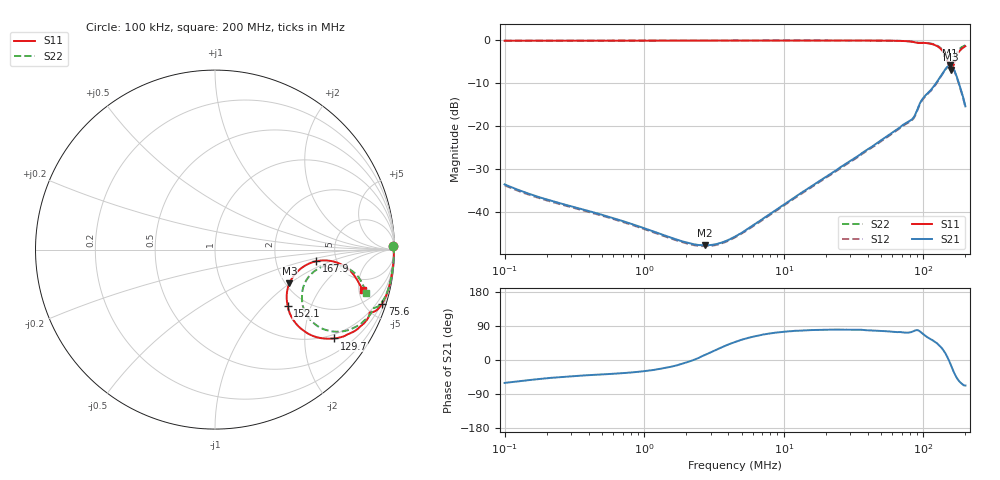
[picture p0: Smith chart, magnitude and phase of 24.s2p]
#  HZ  S  RI  R  50.00
! Rohde & Schwarz Vector Network Analyzer
! Rohde-Schwarz,ZNLE6-2Port,1323001256200024,1.71.1.10-23.02.1.238
! Created: UTC 4/8/2025, 2:39:45 AM
! freq[Hz]  re:S11  im:S11  re:S21  im:S21  re:S12  im:S12  re:S22  im:S22
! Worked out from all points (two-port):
!   1001 points, 100 kHz to 200 MHz, reference 50 ohm
!   highest |S21| = -5.84 dB at 155.6 MHz (marker M1); lowest = -47.7 dB at 2.729 MHz (marker M2)
!   |S21| within 3 dB of the highest: 130.1 MHz to 175.1 MHz (44.99 MHz wide, 29.5 % of centre)
!   lowest |S11| = -6.8 dB at 158 MHz (marker M3), VSWR 2.67, Z = 105 - j49.8 ohm
!   |S11| at or under -10 dB: nowhere
!   |S22| runs from -5.5 to 0.0 dB; largest |S21 - S12| = 0.0093
!   S11 on the Smith chart (normalised r, x): 100 kHz: 46, +84; 75.6 MHz: 0.44, -6.30; 129.7 MHz: 0.88, -2.76; 152.1 MHz: 1.63, -1.38; 167.9 MHz: 3.49, -0.66; 200 MHz: 3.29, -5.50
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100000  0.9898 0.0181  0.0104 -0.0183  0.0101 -0.0178  0.99 0.0176
355854.1  0.9918 0.00623  0.00818 -0.00713  0.00797 -0.00696  0.9922 0.00616
1266322  0.9948 -0.000754  0.00517 -0.00233  0.00505 -0.00228  0.9949 -0.000581
2075444  0.9956 -0.00463  0.00435 -0.000362  0.00425 -0.000358  0.9956 -0.0041
2728651  0.9962 -0.00723  0.00399 0.000954  0.00392 0.000851  0.9964 -0.00588
3427512  0.9962 -0.00988  0.00374 0.00216  0.00368 0.00207  0.997 -0.00787
4472136  0.9962 -0.0144  0.0035 0.00383  0.00346 0.00372  0.9969 -0.0114
1.591428e7  0.995 -0.0578  0.00385 0.0198  0.00392 0.0193  0.9955 -0.0533
3.251501e7  0.988 -0.1204  0.00774 0.0422  0.00842 0.041  0.9894 -0.111
5.663162e7  0.9673 -0.2166  0.0199 0.0767  0.0205 0.0743  0.9716 -0.1992
7.559589e7  0.9313 -0.3015  0.0338 0.1044  0.0345 0.1012  0.9401 -0.2775
8.47254e7  0.8941 -0.3422  0.0306 0.1214  0.0315 0.1181  0.9097 -0.3156
9.352484e7  0.8615 -0.3506  0.0413 0.1737  0.0426 0.1692  0.8789 -0.3269
1.113911e8  0.8095 -0.4281  0.1442 0.2135  0.1434 0.2076  0.8319 -0.3951
1.296795e8  0.6633 -0.495  0.2791 0.2254  0.2746 0.221  0.7061 -0.4562
1.409882e8  0.5191 -0.4684  0.4084 0.1704  0.4027 0.167  0.5802 -0.4316
1.521223e8  0.4044 -0.313  0.505 -0.00371  0.4985 -0.00558  0.4859 -0.2911
1.55631e8  0.4005 -0.2403  0.5045 -0.0772  0.4975 -0.0793  0.487 -0.231
1.580149e8  0.4141 -0.1888  0.4906 -0.1291  0.483 -0.1313  0.4989 -0.189
1.679215e8  0.5638 -0.0645  0.3452 -0.2643  0.3359 -0.2647  0.6269 -0.0875
1.82565e8  0.7498 -0.1149  0.1542 -0.2467  0.1473 -0.2438  0.7866 -0.1389
2e8  0.8238 -0.2262  0.0657 -0.1574  0.0623 -0.1547  0.8432 -0.2404
